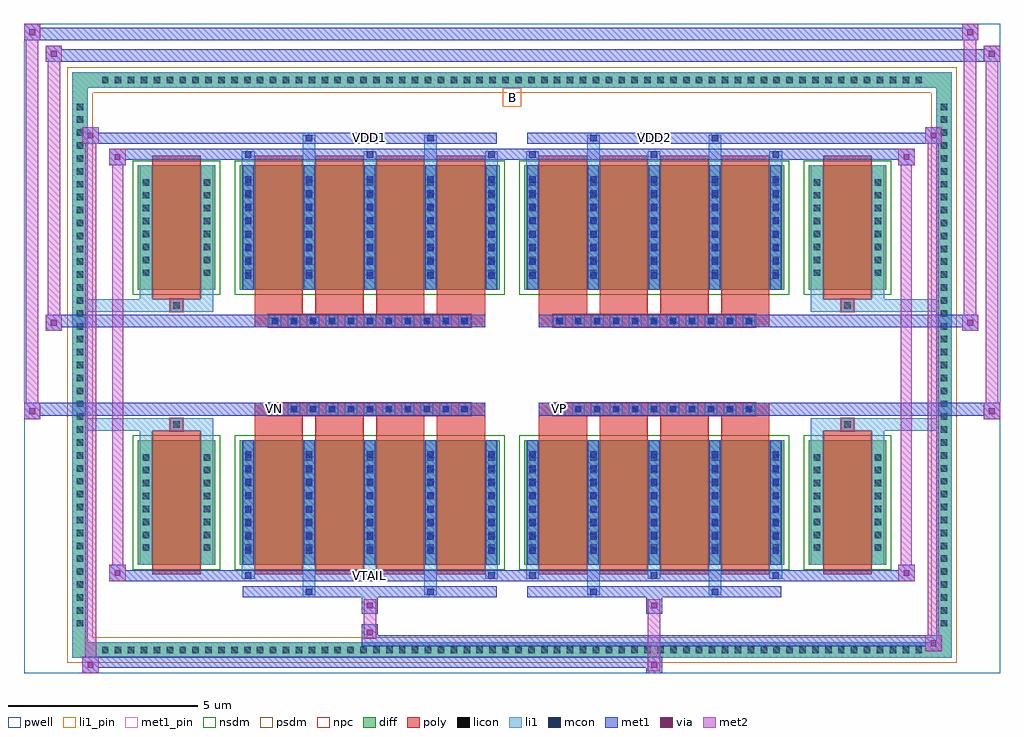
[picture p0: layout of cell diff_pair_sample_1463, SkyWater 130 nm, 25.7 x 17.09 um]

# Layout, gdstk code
import gdstk
lib = gdstk.Library(unit=1e-6, precision=5e-09)
def R(c, l, rs):  # rectangles x0, y0, x1, y1
    for r in rs: c.add(gdstk.rectangle(r[:2], r[2:], *l))
def A(c, l, x, y, w, h, nx, ny, dx, dy):  # array of equal rectangles
    R(c, l, [(x+i*dx, y+j*dy, x+i*dx+w, y+j*dy+h) for i in range(nx) for j in range(ny)])
def P(c, l, *ps):  # polygons
    for p in ps: c.add(gdstk.Polygon(p, *l))
pwell = (64, 44)
diff = (65, 20)
poly = (66, 20)
licon = (66, 44)
li1_pin = (67, 16)
li1 = (67, 20)
mcon = (67, 44)
met1_pin = (68, 16)
met1 = (68, 20)
via = (68, 44)
met2 = (69, 20)
nsdm = (93, 44)
psdm = (94, 20)
npc = (95, 20)

diff_pair_sample_1463 = lib.new_cell('diff_pair_sample_1463')
R(diff_pair_sample_1463, pwell, [(-12.85,-8.11,12.85,8.98), (-10.17,-6.3,-0.01,-0.8), (0.01,-6.3,10.17,-0.8), (-10.17,0.8,-0.01,6.3), (0.01,0.8,10.17,6.3)])
A(diff_pair_sample_1463, diff, -10.915, -7.71, 0.41, 0.41, 64, 2, 0.34, 15.01)
A(diff_pair_sample_1463, diff, -11.58, -7.005, 0.41, 0.41, 1, 41, 0, 0.34)
A(diff_pair_sample_1463, diff, 11.17, -7.005, 0.41, 0.41, 1, 41, 0, 0.34)
R(diff_pair_sample_1463, diff, [(-10.915,-7.71,10.915,-7.3), (-11.58,-7.005,-11.17,7.005), (11.17,-7.005,11.58,7.005), (-9.86,-5.255,-7.81,-1.985), (-7.17,-5.255,-0.32,-1.985), (0.32,-5.255,7.17,-1.985), (7.81,-5.255,9.86,-1.985), (-9.86,1.985,-7.81,5.255), (-7.17,1.985,-0.32,5.255), (0.32,1.985,7.17,5.255), (7.81,1.985,9.86,5.255), (-10.915,7.3,10.915,7.71)])
P(diff_pair_sample_1463, diff, [(11.58,7.71),(-11.58,7.71),(-11.58,-7.3),(-11.17,-7.3),(-11.17,7.3),(11.17,7.3),(11.17,-7.3),(-11.17,-7.3),(-11.58,-7.3),(-11.58,-7.71),(11.58,-7.71)])
A(diff_pair_sample_1463, poly, -6.78, -5.505, 1.27, 3.77, 4, 2, 1.6, 7.24)
A(diff_pair_sample_1463, poly, 0.71, -5.505, 1.27, 3.77, 4, 2, 1.6, 7.24)
A(diff_pair_sample_1463, poly, -6.78, -1.735, 1.27, 0.405, 4, 2, 1.6, 3.065)
A(diff_pair_sample_1463, poly, 0.71, -1.735, 1.27, 0.405, 4, 2, 1.6, 3.065)
A(diff_pair_sample_1463, poly, -6.41, -1.33, 0.33, 0.33, 11, 2, 0.5, 2.33)
A(diff_pair_sample_1463, poly, 1.08, -1.33, 0.33, 0.33, 11, 2, 0.5, 2.33)
R(diff_pair_sample_1463, poly, [(-9.47,-5.505,-8.2,-1.735), (8.2,-5.505,9.47,-1.735), (-9,-1.735,-8.67,-1.405), (-9,-1.735,-8.67,-1.405), (8.67,-1.735,9,-1.405), (8.67,-1.735,9,-1.405), (-6.78,-1.33,-0.71,-1), (0.71,-1.33,6.78,-1), (-6.78,1,-0.71,1.33), (0.71,1,6.78,1.33), (-9,1.405,-8.67,1.735), (-9,1.405,-8.67,1.735), (8.67,1.405,9,1.735), (8.67,1.405,9,1.735), (-9.47,1.735,-8.2,5.505), (8.2,1.735,9.47,5.505)])
A(diff_pair_sample_1463, licon, -10.795, -7.59, 0.17, 0.17, 64, 2, 0.34, 15.01)
A(diff_pair_sample_1463, licon, -11.46, -6.885, 0.17, 0.17, 1, 41, 0, 0.34)
A(diff_pair_sample_1463, licon, 11.29, -6.885, 0.17, 0.17, 1, 41, 0, 0.34)
A(diff_pair_sample_1463, licon, -9.72, -4.895, 0.17, 0.17, 1, 8, 0, 0.34)
A(diff_pair_sample_1463, licon, -8.12, -4.895, 0.17, 0.17, 1, 8, 0, 0.34)
A(diff_pair_sample_1463, licon, -7.03, -4.895, 0.17, 0.17, 5, 8, 1.6, 0.34)
A(diff_pair_sample_1463, licon, 0.46, -4.895, 0.17, 0.17, 5, 8, 1.6, 0.34)
A(diff_pair_sample_1463, licon, 7.95, -4.895, 0.17, 0.17, 1, 8, 0, 0.34)
A(diff_pair_sample_1463, licon, 9.55, -4.895, 0.17, 0.17, 1, 8, 0, 0.34)
A(diff_pair_sample_1463, licon, -6.33, -1.25, 0.17, 0.17, 11, 2, 0.5, 2.33)
A(diff_pair_sample_1463, licon, 1.16, -1.25, 0.17, 0.17, 11, 2, 0.5, 2.33)
A(diff_pair_sample_1463, licon, -9.72, 2.345, 0.17, 0.17, 1, 8, 0, 0.34)
A(diff_pair_sample_1463, licon, -8.12, 2.345, 0.17, 0.17, 1, 8, 0, 0.34)
A(diff_pair_sample_1463, licon, -7.03, 2.345, 0.17, 0.17, 5, 8, 1.6, 0.34)
A(diff_pair_sample_1463, licon, 0.46, 2.345, 0.17, 0.17, 5, 8, 1.6, 0.34)
A(diff_pair_sample_1463, licon, 7.95, 2.345, 0.17, 0.17, 1, 8, 0, 0.34)
A(diff_pair_sample_1463, licon, 9.55, 2.345, 0.17, 0.17, 1, 8, 0, 0.34)
R(diff_pair_sample_1463, licon, [(-8.92,-1.655,-8.75,-1.485), (8.75,-1.655,8.92,-1.485), (-8.92,1.485,-8.75,1.655), (8.75,1.485,8.92,1.655)])
R(diff_pair_sample_1463, li1_pin, [(-0.25,6.8,0.25,7.3)])
A(diff_pair_sample_1463, li1, -10.875, -7.67, 0.33, 0.33, 64, 2, 0.34, 15.01)
A(diff_pair_sample_1463, li1, -11.54, -6.965, 0.33, 0.33, 1, 41, 0, 0.34)
A(diff_pair_sample_1463, li1, 11.21, -6.965, 0.33, 0.33, 1, 41, 0, 0.34)
A(diff_pair_sample_1463, li1, -7.11, -5.63, 0.33, 0.375, 3, 2, 3.2, 10.885)
A(diff_pair_sample_1463, li1, -7.03, -5.63, 0.17, 0.17, 3, 2, 3.2, 11.09)
A(diff_pair_sample_1463, li1, 0.38, -5.63, 0.33, 0.375, 3, 2, 3.2, 10.885)
A(diff_pair_sample_1463, li1, 0.46, -5.63, 0.17, 0.17, 3, 2, 3.2, 11.09)
A(diff_pair_sample_1463, li1, -7.11, -5.255, 0.33, 3.27, 5, 2, 1.6, 7.24)
A(diff_pair_sample_1463, li1, 0.38, -5.255, 0.33, 3.27, 5, 2, 1.6, 7.24)
A(diff_pair_sample_1463, li1, -9.8, -4.975, 0.33, 0.33, 1, 8, 0, 0.34)
A(diff_pair_sample_1463, li1, -8.2, -4.975, 0.33, 0.33, 1, 8, 0, 0.34)
A(diff_pair_sample_1463, li1, -7.11, -4.975, 0.33, 0.33, 5, 8, 1.6, 0.34)
A(diff_pair_sample_1463, li1, 0.38, -4.975, 0.33, 0.33, 5, 8, 1.6, 0.34)
A(diff_pair_sample_1463, li1, 7.87, -4.975, 0.33, 0.33, 1, 8, 0, 0.34)
A(diff_pair_sample_1463, li1, 9.47, -4.975, 0.33, 0.33, 1, 8, 0, 0.34)
A(diff_pair_sample_1463, li1, -7.03, -4.965, 0.17, 0.17, 5, 8, 1.6, 0.36)
A(diff_pair_sample_1463, li1, -7.03, -4.965, 0.17, 2.69, 5, 2, 1.6, 7.24)
A(diff_pair_sample_1463, li1, 0.46, -4.965, 0.17, 0.17, 5, 8, 1.6, 0.36)
A(diff_pair_sample_1463, li1, 0.46, -4.965, 0.17, 2.69, 5, 2, 1.6, 7.24)
A(diff_pair_sample_1463, li1, -6.41, -1.33, 0.33, 0.33, 11, 2, 0.5, 2.33)
A(diff_pair_sample_1463, li1, 1.08, -1.33, 0.33, 0.33, 11, 2, 0.5, 2.33)
A(diff_pair_sample_1463, li1, -9.8, 2.265, 0.33, 0.33, 1, 8, 0, 0.34)
A(diff_pair_sample_1463, li1, -8.2, 2.265, 0.33, 0.33, 1, 8, 0, 0.34)
A(diff_pair_sample_1463, li1, -7.11, 2.265, 0.33, 0.33, 5, 8, 1.6, 0.34)
A(diff_pair_sample_1463, li1, 0.38, 2.265, 0.33, 0.33, 5, 8, 1.6, 0.34)
A(diff_pair_sample_1463, li1, 7.87, 2.265, 0.33, 0.33, 1, 8, 0, 0.34)
A(diff_pair_sample_1463, li1, 9.47, 2.265, 0.33, 0.33, 1, 8, 0, 0.34)
A(diff_pair_sample_1463, li1, -7.03, 2.275, 0.17, 0.17, 5, 8, 1.6, 0.36)
A(diff_pair_sample_1463, li1, 0.46, 2.275, 0.17, 0.17, 5, 8, 1.6, 0.36)
R(diff_pair_sample_1463, li1, [(-11.58,-7.71,-11.17,-7.3), (-11.58,-7.71,-11.17,-7.3), (-11.17,-7.71,11.17,-7.3), (11.17,-7.71,11.58,-7.3), (11.17,-7.71,11.58,-7.3), (-11.58,-7.3,-11.17,7.3), (11.17,-7.3,11.58,7.3), (-5.51,-6.06,-5.18,-5.255), (-5.43,-6.06,-5.26,-5.89), (-2.31,-6.06,-1.98,-5.255), (-2.23,-6.06,-2.06,-5.89), (1.98,-6.06,2.31,-5.255), (2.06,-6.06,2.23,-5.89), (5.18,-6.06,5.51,-5.255), (5.26,-6.06,5.43,-5.89), (-9.8,-5.255,-9.47,-1.985), (-8.2,-5.255,-7.87,-1.985), (7.87,-5.255,8.2,-1.985), (9.47,-5.255,9.8,-1.985), (-9.8,-1.985,-9.47,-1.405), (-8.2,-1.985,-7.87,-1.405), (7.87,-1.985,8.2,-1.405), (9.47,-1.985,9.8,-1.405), (-11.58,-1.735,-9,-1.405), (-9.8,-1.735,-9,-1.405), (-9,-1.735,-8.67,-1.405), (-8.67,-1.735,-7.87,-1.405), (7.87,-1.735,8.67,-1.405), (8.67,-1.735,9,-1.405), (8.67,-1.735,11.58,-1.405), (9,-1.735,9.8,-1.405), (-11.58,1.405,-9,1.735), (-9.8,1.405,-9,1.735), (-9.8,1.405,-9.47,1.985), (-9,1.405,-8.67,1.735), (-8.67,1.405,-7.87,1.735), (-8.2,1.405,-7.87,1.985), (7.87,1.405,8.67,1.735), (7.87,1.405,8.2,1.985), (8.67,1.405,9,1.735), (8.67,1.405,11.58,1.735), (9,1.405,9.8,1.735), (9.47,1.405,9.8,1.985), (-9.8,1.985,-9.47,5.255), (-8.2,1.985,-7.87,5.255), (7.87,1.985,8.2,5.255), (9.47,1.985,9.8,5.255), (-5.51,5.255,-5.18,6.06), (-2.31,5.255,-1.98,6.06), (1.98,5.255,2.31,6.06), (5.18,5.255,5.51,6.06), (-5.43,5.89,-5.26,6.06), (-2.23,5.89,-2.06,6.06), (2.06,5.89,2.23,6.06), (5.26,5.89,5.43,6.06), (-11.58,7.3,-11.17,7.71), (-11.58,7.3,-11.17,7.71), (-11.17,7.3,11.17,7.71), (11.17,7.3,11.58,7.71), (11.17,7.3,11.58,7.71)])
A(diff_pair_sample_1463, mcon, -7.03, -5.63, 0.17, 0.17, 3, 2, 3.2, 11.09)
A(diff_pair_sample_1463, mcon, 0.46, -5.63, 0.17, 0.17, 3, 2, 3.2, 11.09)
A(diff_pair_sample_1463, mcon, -7.03, -4.965, 0.17, 0.17, 5, 8, 1.6, 0.36)
A(diff_pair_sample_1463, mcon, 0.46, -4.965, 0.17, 0.17, 5, 8, 1.6, 0.36)
A(diff_pair_sample_1463, mcon, -6.33, -1.25, 0.17, 0.17, 11, 2, 0.5, 2.33)
A(diff_pair_sample_1463, mcon, 1.16, -1.25, 0.17, 0.17, 11, 2, 0.5, 2.33)
A(diff_pair_sample_1463, mcon, -7.03, 2.275, 0.17, 0.17, 5, 8, 1.6, 0.36)
A(diff_pair_sample_1463, mcon, 0.46, 2.275, 0.17, 0.17, 5, 8, 1.6, 0.36)
R(diff_pair_sample_1463, mcon, [(-5.43,-6.06,-5.26,-5.89), (-2.23,-6.06,-2.06,-5.89), (2.06,-6.06,2.23,-5.89), (5.26,-6.06,5.43,-5.89), (-5.43,5.89,-5.26,6.06), (-2.23,5.89,-2.06,6.06), (2.06,5.89,2.23,6.06), (5.26,5.89,5.43,6.06)])
R(diff_pair_sample_1463, met1_pin, [(-3.88,-5.67,-3.61,-5.4), (-6.38,-1.29,-6.11,-1.02), (1.11,-1.29,1.38,-1.02), (-3.88,5.85,-3.61,6.12), (3.61,5.85,3.88,6.12)])
A(diff_pair_sample_1463, met1, -7.09, -5.69, 0.29, 0.29, 3, 2, 3.2, 11.09)
A(diff_pair_sample_1463, met1, 0.4, -5.69, 0.29, 0.29, 3, 2, 3.2, 11.09)
A(diff_pair_sample_1463, met1, -7.09, -5.255, 0.29, 3.27, 5, 2, 1.6, 7.24)
A(diff_pair_sample_1463, met1, 0.4, -5.255, 0.29, 3.27, 5, 2, 1.6, 7.24)
A(diff_pair_sample_1463, met1, -7.09, -5.025, 0.29, 0.29, 5, 8, 1.6, 0.36)
A(diff_pair_sample_1463, met1, 0.4, -5.025, 0.29, 0.29, 5, 8, 1.6, 0.36)
A(diff_pair_sample_1463, met1, -6.39, -1.31, 0.29, 0.29, 11, 2, 0.5, 2.33)
A(diff_pair_sample_1463, met1, 1.1, -1.31, 0.29, 0.29, 11, 2, 0.5, 2.33)
A(diff_pair_sample_1463, met1, -7.09, 2.215, 0.29, 0.29, 5, 8, 1.6, 0.36)
A(diff_pair_sample_1463, met1, 0.4, 2.215, 0.29, 0.29, 5, 8, 1.6, 0.36)
R(diff_pair_sample_1463, met1, [(-11.31,-8.11,-10.88,-7.68), (3.53,-8.11,3.96,-7.68), (-11.31,-7.97,3.96,-7.68), (10.88,-7.54,11.31,-7.11), (-3.96,-7.4,11.31,-7.11), (-3.96,-7.26,-3.53,-6.83), (-3.96,-6.55,-3.53,-6.12), (3.53,-6.55,3.96,-6.12), (-7.09,-6.12,-0.4,-5.83), (-5.49,-6.12,-5.2,-5.83), (-2.29,-6.12,-2,-5.83), (0.4,-6.12,7.09,-5.83), (2,-6.12,2.29,-5.83), (5.2,-6.12,5.49,-5.83), (-10.6,-5.69,-10.17,-5.26), (-10.6,-5.69,-7.09,-5.4), (-7.09,-5.69,-0.4,-5.4), (-0.4,-5.69,0.4,-5.4), (0.4,-5.69,7.09,-5.4), (7.09,-5.69,10.6,-5.4), (10.17,-5.69,10.6,-5.26), (-12.85,-1.43,-12.42,-1), (12.42,-1.43,12.85,-1), (-12.85,-1.33,-0.71,-1), (-6.78,-1.33,-0.71,-1), (0.71,-1.33,6.78,-1), (0.71,-1.33,12.85,-1), (-12.28,0.9,-11.85,1.33), (11.85,0.9,12.28,1.33), (-12.28,1,-6.78,1.33), (-6.78,1,-0.71,1.33), (0.71,1,6.78,1.33), (6.78,1,12.28,1.33), (-10.6,5.26,-10.17,5.69), (10.17,5.26,10.6,5.69), (-10.6,5.4,-7.09,5.69), (-7.09,5.4,-0.4,5.69), (-0.4,5.4,0.4,5.69), (0.4,5.4,7.09,5.69), (7.09,5.4,10.6,5.69), (-11.31,5.83,-10.88,6.26), (-11.31,5.83,-7.09,6.12), (-7.09,5.83,-0.4,6.12), (-5.49,5.83,-5.2,6.12), (-2.29,5.83,-2,6.12), (0.4,5.83,7.09,6.12), (2,5.83,2.29,6.12), (5.2,5.83,5.49,6.12), (7.09,5.83,11.31,6.12), (10.88,5.83,11.31,6.26), (-12.28,7.98,-11.85,8.41), (-12.28,7.98,-10.17,8.31), (-10.17,7.98,10.17,8.31), (10.17,7.98,12.85,8.31), (12.42,7.98,12.85,8.41), (-12.85,8.55,-12.42,8.98), (-12.85,8.55,-10.17,8.88), (-10.17,8.55,10.17,8.88), (10.17,8.55,12.28,8.88), (11.85,8.55,12.28,8.98)])
R(diff_pair_sample_1463, via, [(-11.17,-7.97,-11.02,-7.82), (3.67,-7.97,3.82,-7.82), (11.02,-7.4,11.17,-7.25), (-3.82,-7.12,-3.67,-6.97), (-3.82,-6.41,-3.67,-6.26), (3.67,-6.41,3.82,-6.26), (-10.46,-5.55,-10.31,-5.4), (10.31,-5.55,10.46,-5.4), (-12.71,-1.29,-12.56,-1.14), (12.56,-1.29,12.71,-1.14), (-12.14,1.04,-11.99,1.19), (11.99,1.04,12.14,1.19), (-10.46,5.4,-10.31,5.55), (10.31,5.4,10.46,5.55), (-11.17,5.97,-11.02,6.12), (11.02,5.97,11.17,6.12), (-12.14,8.12,-11.99,8.27), (12.56,8.12,12.71,8.27), (-12.71,8.69,-12.56,8.84), (11.99,8.69,12.14,8.84)])
R(diff_pair_sample_1463, met2, [(-11.31,-8.11,-10.88,-7.68), (-11.24,-8.11,-10.95,6.26), (-10.95,-8.11,-10.88,-7.68), (-11.26,-8.06,-10.93,-7.73), (3.58,-8.06,3.91,-7.73), (3.58,-7.73,3.91,-6.5), (10.88,-7.54,11.31,-7.11), (10.95,-7.54,11.24,6.26), (11.24,-7.54,11.31,-7.11), (10.93,-7.49,11.26,-7.16), (-3.91,-7.21,-3.58,-6.88), (-3.91,-6.88,-3.58,-6.5), (-3.91,-6.5,-3.58,-6.17), (3.58,-6.5,3.91,-6.17), (-10.6,-5.69,-10.17,-5.26), (-10.53,-5.69,-10.24,5.69), (-10.24,-5.69,-10.17,-5.26), (10.17,-5.69,10.6,-5.26), (10.24,-5.69,10.53,5.69), (10.53,-5.69,10.6,-5.26), (-10.55,-5.64,-10.22,-5.31), (10.22,-5.64,10.55,-5.31), (-12.85,-1.43,-12.42,-1), (-12.8,-1.43,-12.47,8.98), (-12.47,-1.43,-12.42,-1), (12.42,-1.43,12.85,-1), (12.47,-1.43,12.8,8.41), (12.8,-1.43,12.85,-1), (-12.8,-1.38,-12.47,-1.05), (12.47,-1.38,12.8,-1.05), (-12.28,0.9,-11.85,1.33), (-12.23,0.9,-11.9,8.41), (-11.9,0.9,-11.85,1.33), (11.85,0.9,12.28,1.33), (11.9,0.9,12.23,8.98), (12.23,0.9,12.28,1.33), (-12.23,0.95,-11.9,1.28), (11.9,0.95,12.23,1.28), (-10.6,5.26,-10.17,5.69), (-10.24,5.26,-10.17,5.69), (10.17,5.26,10.6,5.69), (10.53,5.26,10.6,5.69), (-10.55,5.31,-10.22,5.64), (10.22,5.31,10.55,5.64), (-11.31,5.83,-10.88,6.26), (-10.95,5.83,-10.88,6.26), (10.88,5.83,11.31,6.26), (11.24,5.83,11.31,6.26), (-11.26,5.88,-10.93,6.21), (10.93,5.88,11.26,6.21), (-12.28,7.98,-11.85,8.41), (-11.9,7.98,-11.85,8.41), (12.42,7.98,12.85,8.41), (12.8,7.98,12.85,8.41), (-12.23,8.03,-11.9,8.36), (12.47,8.03,12.8,8.36), (-12.85,8.55,-12.42,8.98), (-12.47,8.55,-12.42,8.98), (11.85,8.55,12.28,8.98), (12.23,8.55,12.28,8.98), (-12.8,8.6,-12.47,8.93), (11.9,8.6,12.23,8.93)])
R(diff_pair_sample_1463, nsdm, [(-9.99,-5.385,-7.68,-1.855), (-7.3,-5.385,-0.19,-1.855), (0.19,-5.385,7.3,-1.855), (7.68,-5.385,9.99,-1.855), (-9.99,1.855,-7.68,5.385), (-7.3,1.855,-0.19,5.385), (0.19,1.855,7.3,5.385), (7.68,1.855,9.99,5.385)])
P(diff_pair_sample_1463, psdm, [(11.71,7.84),(-11.71,7.84),(-11.71,-7.17),(-11.04,-7.17),(-11.04,7.17),(11.04,7.17),(11.04,-7.17),(-11.04,-7.17),(-11.71,-7.17),(-11.71,-7.84),(11.71,-7.84)])
A(diff_pair_sample_1463, npc, -6.43, -1.35, 0.37, 0.37, 11, 2, 0.5, 2.33)
A(diff_pair_sample_1463, npc, 1.06, -1.35, 0.37, 0.37, 11, 2, 0.5, 2.33)
R(diff_pair_sample_1463, npc, [(-9.02,-1.755,-8.65,-1.385), (8.65,-1.755,9.02,-1.385), (-6.43,-1.35,-5.56,-0.98), (-6.43,-1.35,-5.56,-0.98), (-5.93,-1.35,-5.06,-0.98), (-5.93,-1.35,-5.06,-0.98), (-5.43,-1.35,-4.56,-0.98), (-5.43,-1.35,-4.56,-0.98), (-4.93,-1.35,-4.06,-0.98), (-4.93,-1.35,-4.06,-0.98), (-4.43,-1.35,-3.56,-0.98), (-4.43,-1.35,-3.56,-0.98), (-3.93,-1.35,-3.06,-0.98), (-3.93,-1.35,-3.06,-0.98), (-3.43,-1.35,-2.56,-0.98), (-3.43,-1.35,-2.56,-0.98), (-2.93,-1.35,-2.06,-0.98), (-2.93,-1.35,-2.06,-0.98), (-2.43,-1.35,-1.56,-0.98), (-2.43,-1.35,-1.56,-0.98), (-1.93,-1.35,-1.06,-0.98), (-1.93,-1.35,-1.06,-0.98), (1.06,-1.35,1.93,-0.98), (1.06,-1.35,1.93,-0.98), (1.56,-1.35,2.43,-0.98), (1.56,-1.35,2.43,-0.98), (2.06,-1.35,2.93,-0.98), (2.06,-1.35,2.93,-0.98), (2.56,-1.35,3.43,-0.98), (2.56,-1.35,3.43,-0.98), (3.06,-1.35,3.93,-0.98), (3.06,-1.35,3.93,-0.98), (3.56,-1.35,4.43,-0.98), (3.56,-1.35,4.43,-0.98), (4.06,-1.35,4.93,-0.98), (4.06,-1.35,4.93,-0.98), (4.56,-1.35,5.43,-0.98), (4.56,-1.35,5.43,-0.98), (5.06,-1.35,5.93,-0.98), (5.06,-1.35,5.93,-0.98), (5.56,-1.35,6.43,-0.98), (5.56,-1.35,6.43,-0.98), (-6.43,0.98,-5.56,1.35), (-6.43,0.98,-5.56,1.35), (-5.93,0.98,-5.06,1.35), (-5.93,0.98,-5.06,1.35), (-5.43,0.98,-4.56,1.35), (-5.43,0.98,-4.56,1.35), (-4.93,0.98,-4.06,1.35), (-4.93,0.98,-4.06,1.35), (-4.43,0.98,-3.56,1.35), (-4.43,0.98,-3.56,1.35), (-3.93,0.98,-3.06,1.35), (-3.93,0.98,-3.06,1.35), (-3.43,0.98,-2.56,1.35), (-3.43,0.98,-2.56,1.35), (-2.93,0.98,-2.06,1.35), (-2.93,0.98,-2.06,1.35), (-2.43,0.98,-1.56,1.35), (-2.43,0.98,-1.56,1.35), (-1.93,0.98,-1.06,1.35), (-1.93,0.98,-1.06,1.35), (1.06,0.98,1.93,1.35), (1.06,0.98,1.93,1.35), (1.56,0.98,2.43,1.35), (1.56,0.98,2.43,1.35), (2.06,0.98,2.93,1.35), (2.06,0.98,2.93,1.35), (2.56,0.98,3.43,1.35), (2.56,0.98,3.43,1.35), (3.06,0.98,3.93,1.35), (3.06,0.98,3.93,1.35), (3.56,0.98,4.43,1.35), (3.56,0.98,4.43,1.35), (4.06,0.98,4.93,1.35), (4.06,0.98,4.93,1.35), (4.56,0.98,5.43,1.35), (4.56,0.98,5.43,1.35), (5.06,0.98,5.93,1.35), (5.06,0.98,5.93,1.35), (5.56,0.98,6.43,1.35), (5.56,0.98,6.43,1.35), (-9.02,1.385,-8.65,1.755), (8.65,1.385,9.02,1.755)])
diff_pair_sample_1463.add(gdstk.Label('VTAIL', (-3.745,-5.535), layer=68, texttype=5))
diff_pair_sample_1463.add(gdstk.Label('VN', (-6.245,-1.155), layer=68, texttype=5))
diff_pair_sample_1463.add(gdstk.Label('VP', (1.245,-1.155), layer=68, texttype=5))
diff_pair_sample_1463.add(gdstk.Label('B', (0,7.05), layer=67, texttype=5))
diff_pair_sample_1463.add(gdstk.Label('VDD2', (3.745,5.985), layer=68, texttype=5))
diff_pair_sample_1463.add(gdstk.Label('VDD1', (-3.745,5.985), layer=68, texttype=5))

lib.write_gds('diff_pair_sample_1463.gds')
